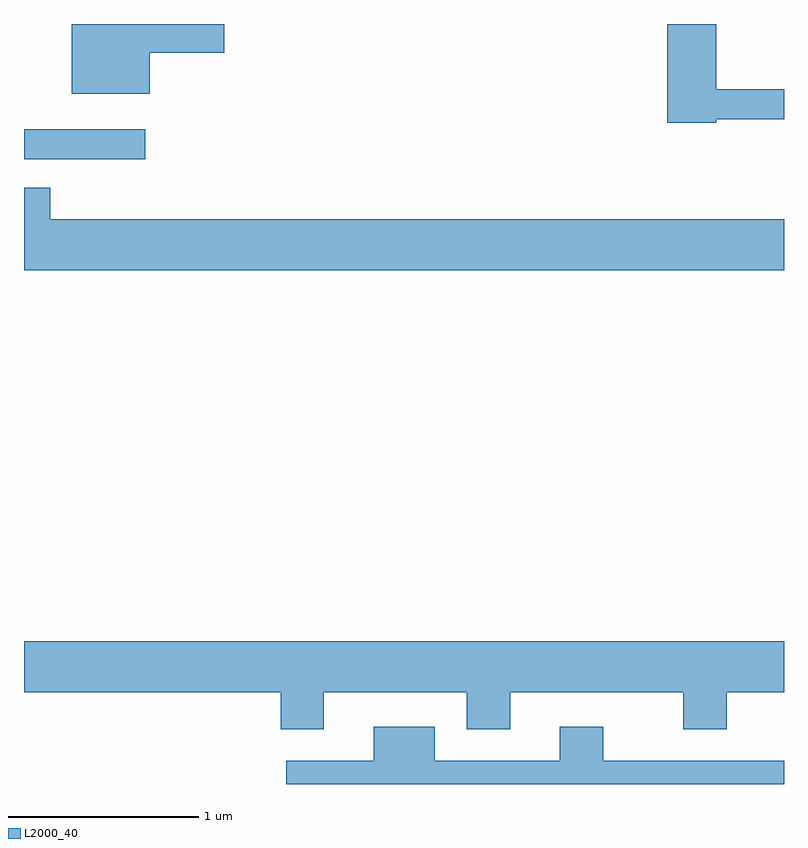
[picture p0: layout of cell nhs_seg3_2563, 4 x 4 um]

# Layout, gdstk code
import gdstk
lib = gdstk.Library(unit=1e-6, precision=1e-09)
def R(c, l, rs):  # rectangles x0, y0, x1, y1
    for r in rs: c.add(gdstk.rectangle(r[:2], r[2:], *l))
def P(c, l, *ps):  # polygons
    for p in ps: c.add(gdstk.Polygon(p, *l))
L2000_40 = (2000, 40)

nhs_seg3_2563 = lib.new_cell('nhs_seg3_2563')
R(nhs_seg3_2563, L2000_40, [(259.611,1213.181,260.248,1213.339)])
P(nhs_seg3_2563, L2000_40, [(263.254,1213.391),(263.611,1213.391),(263.611,1213.549),(263.254,1213.549),(263.254,1213.892),(262.996,1213.892),(262.996,1213.371),(263.254,1213.371)],
  [(260.274,1213.741),(260.664,1213.741),(260.664,1213.892),(259.861,1213.892),(259.861,1213.526),(260.274,1213.526)],
  [(263.611,1212.864),(259.749,1212.864),(259.749,1213.029),(259.611,1213.029),(259.611,1212.596),(263.611,1212.596)],
  [(261.189,1210.376),(261.941,1210.376),(261.941,1210.181),(262.169,1210.181),(262.169,1210.376),(263.081,1210.376),(263.081,1210.181),(263.309,1210.181),(263.309,1210.376),(263.611,1210.376),(263.611,1210.644),(259.611,1210.644),(259.611,1210.376),(260.961,1210.376),(260.961,1210.181),(261.189,1210.181)],
  [(263.611,1210.014),(262.659,1210.014),(262.659,1210.194),(262.431,1210.194),(262.431,1210.014),(261.774,1210.014),(261.774,1210.194),(261.451,1210.194),(261.451,1210.014),(260.991,1210.014),(260.991,1209.892),(263.611,1209.892)])

lib.write_gds('nhs_seg3_2563.gds')
